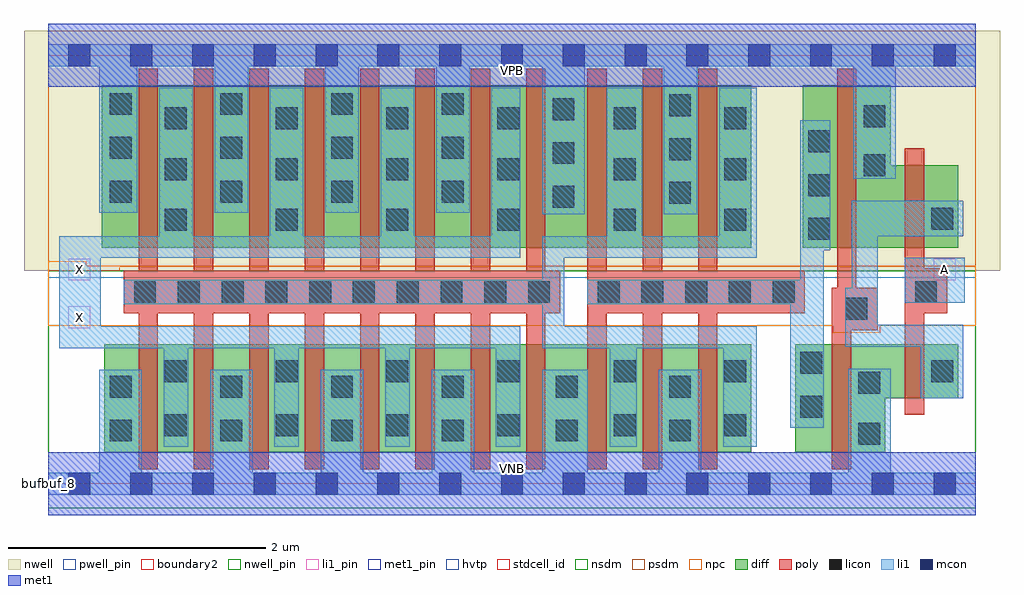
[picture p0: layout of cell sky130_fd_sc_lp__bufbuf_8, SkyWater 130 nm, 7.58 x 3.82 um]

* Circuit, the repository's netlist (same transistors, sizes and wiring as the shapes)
* Copyright 2020 The SkyWater PDK Authors
*
* Licensed under the Apache License, Version 2.0 (the "License");
* you may not use this file except in compliance with the License.
* You may obtain a copy of the License at
*
*     https://www.apache.org/licenses/LICENSE-2.0
*
* Unless required by applicable law or agreed to in writing, software
* distributed under the License is distributed on an "AS IS" BASIS,
* WITHOUT WARRANTIES OR CONDITIONS OF ANY KIND, either express or implied.
* See the License for the specific language governing permissions and
* limitations under the License.
*
* SPDX-License-Identifier: Apache-2.0

.SUBCKT sky130_fd_sc_lp__bufbuf_8 A VGND VNB VPB VPWR X
*.PININFO A:I VGND:I VNB:I VPB:I VPWR:I X:O
MMIN1 Ab A VGND VNB sky130_fd_pr__nfet_01v8 m=1 w=0.42U l=0.15U mult=1 sa=0.265
+ sb=0.265 sd=0.28 area=0.063 perim=1.14
MMIN2 Abb Ab VGND VNB sky130_fd_pr__nfet_01v8 m=1 w=0.84U l=0.15U mult=1 sa=0.265
+ sb=0.265 sd=0.28 area=0.063 perim=1.14
MMIN3 Abbb Abb VGND VNB sky130_fd_pr__nfet_01v8 m=3 w=0.84U l=0.15U mult=1 sa=0.265
+ sb=0.265 sd=0.28 area=0.063 perim=1.14
MMIN4 X Abbb VGND VNB sky130_fd_pr__nfet_01v8 m=8 w=0.84U l=0.15U mult=1 sa=0.265
+ sb=0.265 sd=0.28 area=0.063 perim=1.14
MMIP4 X Abbb VPWR VPB sky130_fd_pr__pfet_01v8_hvt m=8 w=1.26U l=0.15U mult=1 sa=0.265
+ sb=0.265 sd=0.28 area=0.063 perim=1.14
MMIP1 Ab A VPWR VPB sky130_fd_pr__pfet_01v8_hvt m=1 w=0.64U l=0.15U mult=1 sa=0.265
+ sb=0.265 sd=0.28 area=0.063 perim=1.14
MMIP2 Abb Ab VPWR VPB sky130_fd_pr__pfet_01v8_hvt m=1 w=1.26U l=0.15U mult=1 sa=0.265
+ sb=0.265 sd=0.28 area=0.063 perim=1.14
MI5 Abbb Abb VPWR VPB sky130_fd_pr__pfet_01v8_hvt m=3 w=1.26U l=0.15U mult=1 sa=0.265
+ sb=0.265 sd=0.28 area=0.063 perim=1.14
.ENDS sky130_fd_sc_lp__bufbuf_8

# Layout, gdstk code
import gdstk
lib = gdstk.Library(unit=1e-6, precision=1e-09)
def R(c, l, rs):  # rectangles x0, y0, x1, y1
    for r in rs: c.add(gdstk.rectangle(r[:2], r[2:], *l))
def A(c, l, x, y, w, h, nx, ny, dx, dy):  # array of equal rectangles
    R(c, l, [(x+i*dx, y+j*dy, x+i*dx+w, y+j*dy+h) for i in range(nx) for j in range(ny)])
def P(c, l, *ps):  # polygons
    for p in ps: c.add(gdstk.Polygon(p, *l))
nwell_pin = (64, 16)
nwell = (64, 20)
diff = (65, 20)
poly = (66, 20)
licon = (66, 44)
li1_pin = (67, 16)
li1 = (67, 20)
mcon = (67, 44)
met1_pin = (68, 16)
met1 = (68, 20)
hvtp = (78, 44)
stdcell_id = (81, 4)
nsdm = (93, 44)
psdm = (94, 20)
npc = (95, 20)
pwell_pin = (122, 16)
boundary2 = (236, 0)

sky130_fd_sc_lp__bufbuf_ = lib.new_cell('sky130_fd_sc_lp__bufbuf_8')
R(sky130_fd_sc_lp__bufbuf_, nwell_pin, [(0,3.085,7.2,3.33)])
R(sky130_fd_sc_lp__bufbuf_, nwell, [(-0.19,1.655,7.39,3.52)])
R(sky130_fd_sc_lp__bufbuf_, diff, [(0.435,0.245,5.46,1.085), (0.415,1.835,5.46,3.095)])
P(sky130_fd_sc_lp__bufbuf_, diff, [(7.065,2.475),(6.54,2.475),(6.54,3.095),(5.86,3.095),(5.86,1.835),(7.065,1.835)],
  [(7.065,1.085),(5.8,1.085),(5.8,0.245),(6.5,0.245),(6.5,0.665),(7.065,0.665)])
P(sky130_fd_sc_lp__bufbuf_, poly, [(3.975,1.655),(3.86,1.655),(3.86,3.225),(3.71,3.225),(3.71,1.655),(3.43,1.655),(3.43,3.225),(3.28,3.225),(3.28,1.655),(3,1.655),(3,3.225),(2.85,3.225),(2.85,1.655),(2.57,1.655),(2.57,3.225),(2.42,3.225),(2.42,1.655),(2.14,1.655),(2.14,3.225),(1.99,3.225),(1.99,1.655),(1.71,1.655),(1.71,3.225),(1.56,3.225),(1.56,1.655),(1.28,1.655),(1.28,3.225),(1.13,3.225),(1.13,1.655),(0.85,1.655),(0.85,3.225),(0.7,3.225),(0.7,1.655),(0.585,1.655),(0.585,1.325),(0.7,1.325),(0.7,0.115),(0.85,0.115),(0.85,1.325),(1.13,1.325),(1.13,0.115),(1.28,0.115),(1.28,1.325),(1.56,1.325),(1.56,0.115),(1.71,0.115),(1.71,1.325),(1.99,1.325),(1.99,0.115),(2.14,0.115),(2.14,1.325),(2.42,1.325),(2.42,0.115),(2.57,0.115),(2.57,1.325),(2.85,1.325),(2.85,0.115),(3,0.115),(3,1.325),(3.28,1.325),(3.28,0.115),(3.43,0.115),(3.43,1.325),(3.71,1.325),(3.71,0.115),(3.86,0.115),(3.86,1.325),(3.975,1.325)],
  [(5.875,1.655),(5.195,1.655),(5.195,3.225),(5.045,3.225),(5.045,1.655),(4.765,1.655),(4.765,3.225),(4.615,3.225),(4.615,1.655),(4.335,1.655),(4.335,3.225),(4.185,3.225),(4.185,0.115),(4.335,0.115),(4.335,1.325),(4.615,1.325),(4.615,0.115),(4.765,0.115),(4.765,1.325),(5.045,1.325),(5.045,0.115),(5.195,0.115),(5.195,1.325),(5.875,1.325)],
  [(6.44,1.525),(6.275,1.525),(6.275,3.225),(6.125,3.225),(6.125,1.525),(6.085,1.525),(6.085,0.115),(6.235,0.115),(6.235,1.195),(6.44,1.195)],
  [(6.98,1.675),(6.8,1.675),(6.8,2.605),(6.65,2.605),(6.65,0.535),(6.8,0.535),(6.8,1.325),(6.98,1.325)])
A(sky130_fd_sc_lp__bufbuf_, licon, 0.475, 0.33, 0.17, 0.17, 4, 2, 0.86, 0.34)
A(sky130_fd_sc_lp__bufbuf_, licon, 0.905, 0.37, 0.17, 0.17, 4, 2, 0.86, 0.42)
A(sky130_fd_sc_lp__bufbuf_, licon, 0.665, 1.405, 0.17, 0.17, 10, 1, 0.34, 0)
A(sky130_fd_sc_lp__bufbuf_, licon, 4.265, 1.405, 0.17, 0.17, 5, 1, 0.34, 0)
A(sky130_fd_sc_lp__bufbuf_, licon, 5.9, 1.895, 0.17, 0.17, 1, 3, 0, 0.34)
A(sky130_fd_sc_lp__bufbuf_, licon, 0.905, 1.965, 0.17, 0.17, 4, 3, 0.86, 0.395)
A(sky130_fd_sc_lp__bufbuf_, licon, 4.39, 1.965, 0.17, 0.17, 1, 3, 0, 0.395)
A(sky130_fd_sc_lp__bufbuf_, licon, 5.25, 1.965, 0.17, 0.17, 1, 3, 0, 0.395)
A(sky130_fd_sc_lp__bufbuf_, licon, 3.915, 2.145, 0.17, 0.17, 1, 3, 0, 0.34)
A(sky130_fd_sc_lp__bufbuf_, licon, 4.82, 2.175, 0.17, 0.17, 1, 3, 0, 0.34)
A(sky130_fd_sc_lp__bufbuf_, licon, 0.475, 2.185, 0.17, 0.17, 4, 3, 0.86, 0.34)
R(sky130_fd_sc_lp__bufbuf_, licon, [(6.29,0.305,6.46,0.475), (3.94,0.33,4.11,0.5), (4.82,0.33,4.99,0.5), (4.39,0.37,4.56,0.54), (5.25,0.37,5.42,0.54), (5.84,0.515,6.01,0.685), (3.94,0.67,4.11,0.84), (4.82,0.67,4.99,0.84), (6.29,0.7,6.46,0.87), (4.39,0.79,4.56,0.96), (5.25,0.79,5.42,0.96), (6.855,0.79,7.025,0.96), (5.84,0.855,6.01,1.025), (6.19,1.275,6.36,1.445), (6.73,1.405,6.9,1.575), (6.855,1.975,7.025,2.145), (6.33,2.39,6.5,2.56), (6.33,2.77,6.5,2.94)])
R(sky130_fd_sc_lp__bufbuf_, li1_pin, [(0.155,1.21,0.325,1.38), (0.155,1.58,0.325,1.75), (6.875,1.58,7.045,1.75)])
A(sky130_fd_sc_lp__bufbuf_, li1, 0.86, 1.925, 0.26, 1.15, 3, 1, 0.86, 0)
A(sky130_fd_sc_lp__bufbuf_, li1, 1.29, 2.105, 0.26, 1.14, 3, 1, 0.86, 0)
R(sky130_fd_sc_lp__bufbuf_, li1, [(6.65,1.405,7.115,1.755), (0.395,2.105,0.69,3.245)])
P(sky130_fd_sc_lp__bufbuf_, li1, [(7.2,3.415),(0,3.415),(0,3.245),(0.455,3.245),(0.455,2.105),(0.665,2.105),(0.665,3.245),(1.315,3.245),(1.315,2.105),(1.525,2.105),(1.525,3.245),(3.835,3.245),(3.835,2.095),(4.165,2.095),(4.165,3.245),(4.78,3.245),(4.78,2.095),(5.04,2.095),(5.04,3.245),(6.25,3.245),(6.25,2.37),(6.58,2.37),(6.58,3.245),(7.2,3.245)],
  [(3.835,0.085),(3.835,0.885),(4.19,0.885),(4.19,0.085),(4.74,0.085),(4.74,0.885),(5.07,0.885),(5.07,0.085),(6.21,0.085),(6.21,0.895),(6.54,0.895),(6.54,0.085),(7.2,0.085),(7.2,-0.085),(0,-0.085),(0,0.085),(0.395,0.085),(0.395,0.885),(0.725,0.885),(0.725,0.085),(1.255,0.085),(1.255,0.885),(1.585,0.885),(1.585,0.085),(2.115,0.085),(2.115,0.885),(2.445,0.885),(2.445,0.085),(2.975,0.085),(2.975,0.885),(3.305,0.885),(3.305,0.085)],
  [(3.835,1.585),(3.835,1.925),(4.335,1.925),(4.335,3.075),(4.61,3.075),(4.61,1.925),(5.21,1.925),(5.21,3.075),(5.5,3.075),(5.5,1.755),(4.005,1.755),(4.005,1.225),(5.5,1.225),(5.5,0.29),(5.24,0.29),(5.24,1.055),(4.57,1.055),(4.57,0.29),(4.36,0.29),(4.36,1.055),(3.835,1.055),(3.835,1.395),(0.585,1.395),(0.585,1.585)],
  [(6.24,2.2),(7.105,2.2),(7.105,1.925),(6.44,1.925),(6.44,1.235),(7.105,1.235),(7.105,0.665),(6.775,0.665),(6.775,1.065),(6.19,1.065),(6.19,1.525),(6.24,1.525)],
  [(5.84,1.585),(5.84,2.825),(6.07,2.825),(6.07,1.815),(6.02,1.815),(6.02,0.435),(5.76,0.435),(5.76,1.395),(4.185,1.395),(4.185,1.585)],
  [(3.665,3.075),(3.44,3.075),(3.44,1.925),(1.075,1.925),(1.075,2.825),(0.905,2.825),(0.905,1.925),(0.085,1.925),(0.085,1.055),(0.895,1.055),(0.895,0.29),(1.085,0.29),(1.085,1.055),(1.755,1.055),(1.755,0.29),(1.945,0.29),(1.945,1.055),(2.615,1.055),(2.615,0.29),(2.805,0.29),(2.805,1.055),(3.475,1.055),(3.475,0.29),(3.665,0.29),(3.665,1.225),(0.405,1.225),(0.405,1.755),(3.665,1.755)])
A(sky130_fd_sc_lp__bufbuf_, mcon, 0.155, -0.085, 0.17, 0.17, 15, 2, 0.48, 3.33)
R(sky130_fd_sc_lp__bufbuf_, met1_pin, [(0,0,7.2,0.245), (0,3.085,7.2,3.33)])
R(sky130_fd_sc_lp__bufbuf_, met1, [(0,-0.245,7.2,0.245), (0,3.085,7.2,3.575)])
R(sky130_fd_sc_lp__bufbuf_, hvtp, [(0,1.6,7.2,3.33)])
R(sky130_fd_sc_lp__bufbuf_, stdcell_id, [(0,0,7.2,3.33)])
R(sky130_fd_sc_lp__bufbuf_, nsdm, [(0,-0.19,7.2,1.655)])
P(sky130_fd_sc_lp__bufbuf_, psdm, [(7.2,3.52),(0,3.52),(0,1.655),(0.555,1.655),(0.555,1.685),(7.2,1.685)])
P(sky130_fd_sc_lp__bufbuf_, npc, [(7.2,1.695),(0.295,1.695),(0.295,1.73),(0,1.73),(0,1.23),(6.09,1.23),(6.09,1.175),(6.46,1.175),(6.46,1.23),(7.2,1.23)])
R(sky130_fd_sc_lp__bufbuf_, pwell_pin, [(0,0,7.2,0.245)])
R(sky130_fd_sc_lp__bufbuf_, boundary2, [(0,0,7.2,3.33)])
sky130_fd_sc_lp__bufbuf_.add(gdstk.Label('VNB', (3.6,0.123), layer=64, texttype=59))
sky130_fd_sc_lp__bufbuf_.add(gdstk.Label('VPB', (3.6,3.208), layer=64, texttype=5))
sky130_fd_sc_lp__bufbuf_.add(gdstk.Label('bufbuf_8', (0,0), layer=83, texttype=44))
sky130_fd_sc_lp__bufbuf_.add(gdstk.Label('VPWR', (3.6,3.208), layer=68, texttype=5))
sky130_fd_sc_lp__bufbuf_.add(gdstk.Label('VGND', (3.6,0.123), layer=68, texttype=5))
sky130_fd_sc_lp__bufbuf_.add(gdstk.Label('A', (6.96,1.665), layer=67, texttype=5))
sky130_fd_sc_lp__bufbuf_.add(gdstk.Label('X', (0.24,1.295), layer=67, texttype=5))
sky130_fd_sc_lp__bufbuf_.add(gdstk.Label('X', (0.24,1.665), layer=67, texttype=5))

lib.write_gds('sky130_fd_sc_lp__bufbuf_8.gds')
